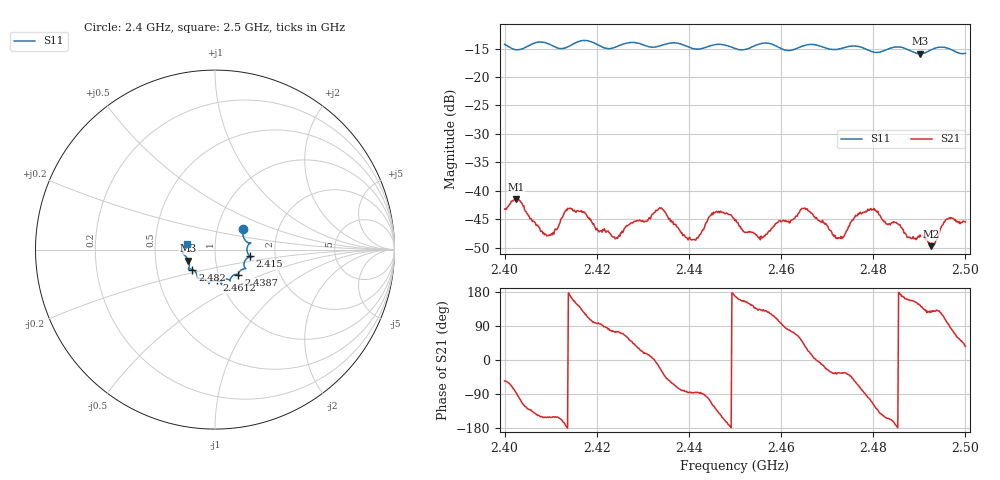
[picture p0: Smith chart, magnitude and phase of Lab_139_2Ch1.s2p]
# Hz S RI R 50
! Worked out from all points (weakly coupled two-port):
!   601 points, 2.4 GHz to 2.5 GHz, reference 50 ohm
!   highest |S21| = -41.44 dB at 2.4025 GHz (marker M1); lowest = -49.7 dB at 2.4925 GHz (marker M2)
!   lowest |S11| = -15.9 dB at 2.4902 GHz (marker M3), VSWR 1.38, Z = 36.9 - j4.64 ohm
!   |S11| at or under -10 dB: start of sweep to end of sweep
!   S12 and S22 are empty: the file has one direction only
!   S11 on the Smith chart (normalised r, x): 2.4 GHz: 1.33, +0.31; 2.415 GHz: 1.47, -0.11; 2.4387 GHz: 1.24, -0.36; 2.4612 GHz: 0.96, -0.34; 2.482 GHz: 0.76, -0.17; 2.5 GHz: 0.73, +0.05
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2.4e9  0.1579 0.1124  0.00392 -0.00569  0 0  0 0
2.4025e9  0.1586 0.0701  0.000523 -0.00845  0 0  0 0
2.409167e9  0.195 0.0362  -0.00351 -0.00193  0 0  0 0
2.415e9  0.1927 -0.0365  -0.00604 0.00276  0 0  0 0
2.416667e9  0.2039 -0.0442  -0.00466 0.00481  0 0  0 0
2.424e9  0.1615 -0.0856  0.00108 0.00362  0 0  0 0
2.433333e9  0.1318 -0.1314  0.00667 -0.0016  0 0  0 0
2.438667e9  0.1307 -0.141  0.000702 -0.00398  0 0  0 0
2.441667e9  0.1027 -0.1429  0.000259 -0.00383  0 0  0 0
2.445833e9  0.0837 -0.174  -0.00412 -0.00507  0 0  0 0
2.45e9  0.0688 -0.1646  -0.00534 0.00107  0 0  0 0
2.4555e9  0.0352 -0.193  -0.00251 0.00273  0 0  0 0
2.461167e9  0.01 -0.1712  0.000682 0.00536  0 0  0 0
2.466667e9  -0.0346 -0.1904  0.00619 0.00142  0 0  0 0
2.472333e9  -0.0706 -0.1605  0.00315 -0.00213  0 0  0 0
2.476667e9  -0.0968 -0.1589  0.00255 -0.00573  0 0  0 0
2.482e9  -0.1261 -0.1112  -0.00459 -0.00316  0 0  0 0
2.483333e9  -0.1398 -0.1083  -0.00461 -0.0022  0 0  0 0
2.490167e9  -0.1481 -0.0613  -0.00333 0.00237  0 0  0 0
2.4925e9  -0.1701 -0.0305  -0.00206 0.00252  0 0  0 0
2.496e9  -0.1794 -0.0172  -0.000922 0.00558  0 0  0 0
2.5e9  -0.1581 0.0325  0.00433 0.00311  0 0  0 0
